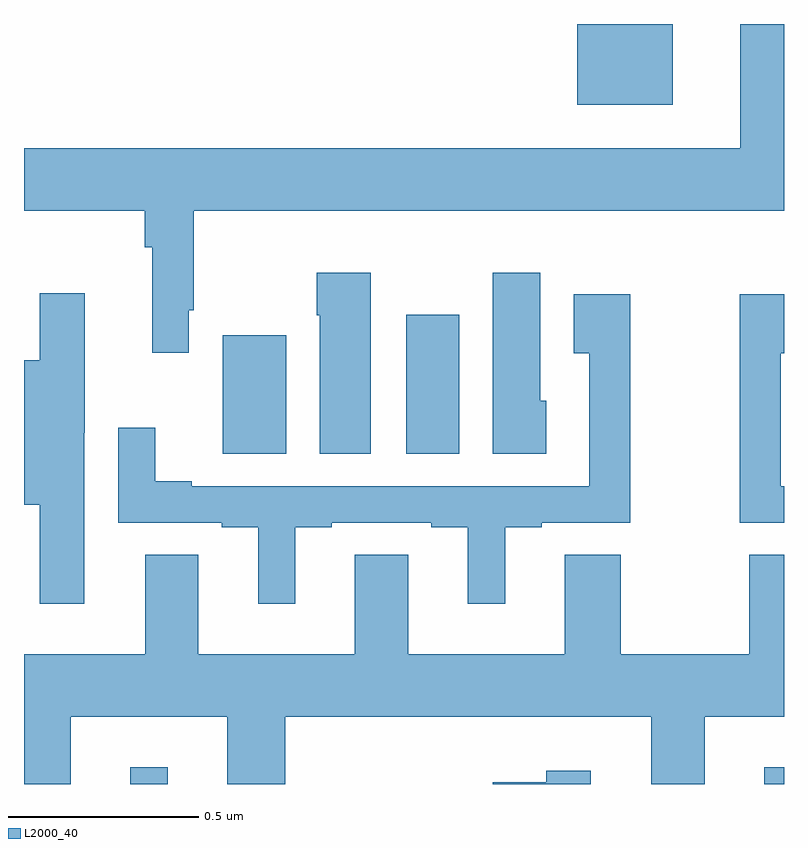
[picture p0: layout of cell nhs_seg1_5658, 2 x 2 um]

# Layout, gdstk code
import gdstk
lib = gdstk.Library(unit=1e-6, precision=1e-09)
def R(c, l, rs):  # rectangles x0, y0, x1, y1
    for r in rs: c.add(gdstk.rectangle(r[:2], r[2:], *l))
def P(c, l, *ps):  # polygons
    for p in ps: c.add(gdstk.Polygon(p, *l))
L2000_40 = (2000, 40)

nhs_seg1_5658 = lib.new_cell('nhs_seg1_5658')
R(nhs_seg1_5658, L2000_40, [(181.28,574.199,181.378,574.243), (182.948,574.199,183,574.243), (181.523,575.068,181.69,575.38), (182.006,575.068,182.146,575.434), (182.456,575.987,182.707,576.199)])
P(nhs_seg1_5658, L2000_40, [(181.434,575.446),(181.447,575.446),(181.447,575.708),(183,575.708),(183,576.199),(182.885,576.199),(182.885,575.872),(181,575.872),(181,575.708),(181.318,575.708),(181.318,575.612),(181.337,575.612),(181.337,575.334),(181.434,575.334)],
  [(181.912,575.545),(181.771,575.545),(181.771,575.432),(181.778,575.432),(181.778,575.068),(181.912,575.068)],
  [(182.374,575.208),(182.359,575.208),(182.359,575.545),(182.234,575.545),(182.234,575.068),(182.374,575.068)],
  [(181.158,575.124),(181.16,575.124),(181.16,575.491),(181.042,575.491),(181.042,575.314),(181,575.314),(181,574.934),(181.042,574.934),(181.042,574.674),(181.158,574.674)],
  [(183,574.983),(182.991,574.983),(182.991,575.332),(183,575.332),(183,575.488),(182.883,575.488),(182.883,574.887),(183,574.887)],
  [(181.714,574.875),(181.81,574.875),(181.81,574.887),(182.072,574.887),(182.072,574.875),(182.168,574.875),(182.168,574.674),(182.266,574.674),(182.266,574.875),(182.362,574.875),(182.362,574.887),(182.596,574.887),(182.596,575.488),(182.447,575.488),(182.447,575.332),(182.487,575.332),(182.487,574.983),(181.441,574.983),(181.441,574.996),(181.345,574.996),(181.345,575.137),(181.248,575.137),(181.248,574.887),(181.52,574.887),(181.52,574.875),(181.616,574.875),(181.616,574.674),(181.714,574.674)],
  [(181.123,574.376),(181.535,574.376),(181.535,574.199),(181.688,574.199),(181.688,574.376),(182.651,574.376),(182.651,574.199),(182.791,574.199),(182.791,574.376),(183,574.376),(183,574.802),(182.908,574.802),(182.908,574.54),(182.571,574.54),(182.571,574.802),(182.423,574.802),(182.423,574.54),(182.011,574.54),(182.011,574.802),(181.871,574.802),(181.871,574.54),(181.459,574.54),(181.459,574.802),(181.319,574.802),(181.319,574.54),(181,574.54),(181,574.199),(181.123,574.199)],
  [(182.491,574.234),(182.374,574.234),(182.374,574.204),(182.234,574.204),(182.234,574.199),(182.491,574.199)])

lib.write_gds('nhs_seg1_5658.gds')
